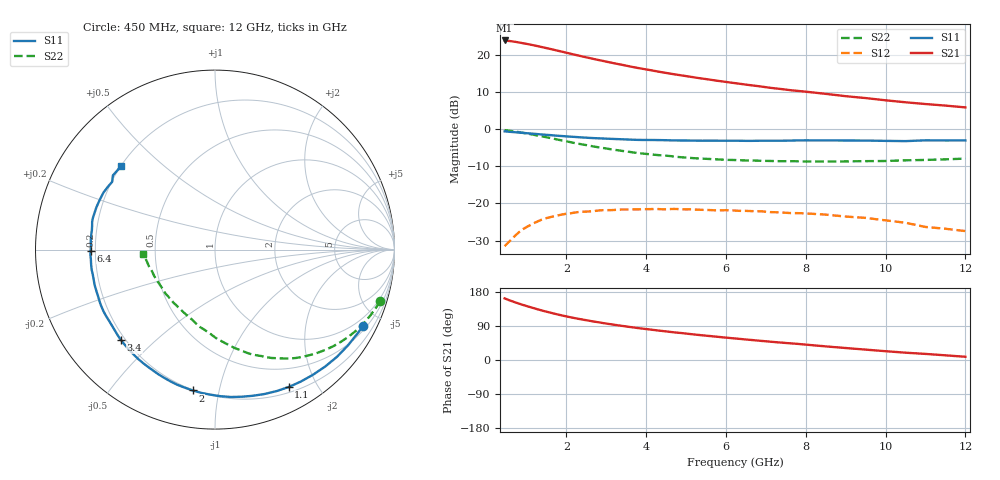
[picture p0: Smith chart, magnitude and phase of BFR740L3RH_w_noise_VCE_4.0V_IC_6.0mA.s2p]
! (c) 2012  Infineon Technologies AG, Munich
! Infineon Technologies  Discrete & RF Semiconductors
! BFR740L3RH
! VCE =  4.0 V,  IC =  6.0 mA
! Common Emitter S-Parameters:  May 2012
# GHz  S  MA  R  50
!  f  S11  S21  S12  S22
! GHz  MAG  ANG  MAG  ANG  MAG  ANG  MAG  ANG
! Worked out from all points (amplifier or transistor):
!   85 points, 450 MHz to 12 GHz, reference 50 ohm
!   highest |S21| = 23.8 dB at 450 MHz (marker M1)
!   |S21| within 3 dB of that: start of sweep to 1.881 GHz
!   unconditionally stable (mu >= 1): 8.849 GHz to end of sweep
!   at 1.8 GHz: K = 0.15, MSG = 22.1 dB, |S12| = -23.2 dB
!   at 4.6 GHz: K = 0.39, MSG = 18.2 dB, |S12| = -21.5 dB
!   at 12 GHz: K = 2.39, MAG = 10.0 dB, |S12| = -27.5 dB
!   lowest NFmin = 0.43 dB at 450 MHz
!   S11 on the Smith chart (normalised r, x): 450 MHz: 0.66, -4.03; 1.1 GHz: 0.26, -1.64; 2 GHz: 0.20, -0.83; 3.4 GHz: 0.18, -0.39; 6.4 GHz: 0.18, -0.00; 12 GHz: 0.20, +0.37
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0.45  0.9285 -27.2  15.45 162.5  0.0266 67.4  0.9652 -17.4
0.6  0.9132 -35.7  15.13 156.4  0.032 68.1  0.9405 -22.9
0.8  0.8952 -46.7  14.55 149.1  0.0405 61.6  0.9071 -29.8
1  0.877 -57.0  13.9 142.4  0.048 56.4  0.8695 -36.2
1.1  0.8687 -61.8  13.57 139.3  0.0513 53.4  0.8507 -39.3
1.3  0.8503 -71.2  12.89 133.1  0.0579 48.8  0.8112 -45.1
1.5  0.8331 -79.7  12.2 127.5  0.0634 43.9  0.7732 -50.5
1.7  0.8172 -87.9  11.53 122.2  0.0674 39.5  0.7356 -55.6
2  0.7945 -99.0  10.57 115.0  0.0725 33.5  0.6814 -62.4
2.2  0.7818 -105.6  9.974 110.7  0.0751 30.5  0.6474 -66.4
2.4  0.7683 -111.7  9.414 106.8  0.0771 27.3  0.6196 -70.5
2.9  0.7448 -124.9  8.236 97.8  0.081 21.1  0.5569 -79.0
3.4  0.7264 -136.2  7.259 89.9  0.0827 15.1  0.5065 -86.8
3.8  0.7128 -144.1  6.582 84.2  0.083 11.8  0.4737 -92.5
4.3  0.7087 -152.3  5.899 77.8  0.0839 7.8  0.4452 -99.0
5.2  0.6967 -165.6  4.933 67.4  0.0827 1.1  0.4047 -109.9
6.3  0.694 -178.4  4.073 56.1  0.0795 -5.1  0.3809 -122.8
6.4  0.6929 -179.5  4.007 55.1  0.0791 -5.3  0.3788 -124.0
7.2  0.6945 172.5  3.524 47.5  0.0761 -9.4  0.3703 -133.2
8.5  0.7016 160.4  2.96 35.9  0.0706 -14.4  0.3642 -146.9
10.5  0.6862 146.6  2.281 19.3  0.0549 -21.0  0.3789 -164.7
12  0.7009 138.5  1.948 8.5  0.0424 -16.1  0.3996 -176.1
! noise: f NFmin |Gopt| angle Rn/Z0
0.45  0.43  0.42  3  0.14
0.9  0.45  0.41  16  0.13
1.5  0.47  0.42  30  0.11
1.9  0.5  0.43  38  0.11
2.4  0.53  0.42  50  0.11
3.5  0.62  0.43  68  0.09
5.5  0.82  0.44  100  0.09
8  1.08  0.41  138  0.08
10  1.28  0.43  164  0.06
12  1.48  0.46  -164  0.05
